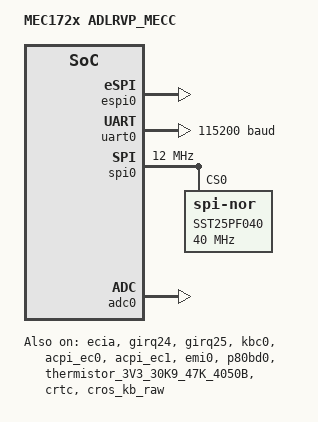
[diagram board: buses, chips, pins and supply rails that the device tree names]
/* Copyright 2021 Microchip Technology Inc. All rights reserved.
 * Use of this source code is governed by a BSD-style license that can be
 * found in the LICENSE file.
 */

/dts-v1/;

#include <cros/microchip/mec1727.dtsi>
#include <cros/thermistor/thermistor.dtsi>
#include <dt-bindings/gpio_defines.h>
#include <microchip/mec172xnsz.dtsi>
#include <microchip/mec172x/mec172xnsz-pinctrl.dtsi>

/ {
	model = "MEC172x ADLRVP_MECC";

	chosen {
		zephyr,sram = &sram0;
		zephyr,console = &uart0;
		zephyr,shell-uart = &uart0;
		zephyr,flash = &flash0;
		zephyr,flash-controller = &int_flash;
	};

	named-pwms {
		compatible = "named-pwms";
	};

	named-adc-channels {
		compatible = "named-adc-channels";

		adc_ddr_soc: ddr_soc {
			label = "TEMP_DDR_SOC";
			enum-name = "ADC_TEMP_SENSOR_1_DDR_SOC";
			io-channels = <&adc0 5>;
		};
		adc_ambient: ambient {
			label = "TEMP_AMBIENT";
			enum-name = "ADC_TEMP_SENSOR_2_AMBIENT";
			io-channels = <&adc0 3>;
		};
		adc_charger: charger {
			label = "TEMP_CHARGER";
			enum-name = "ADC_TEMP_SENSOR_3_CHARGER";
			io-channels = <&adc0 0>;
		};
		adc_wwan: wwan {
			label = "TEMP_WWAN";
			enum-name = "ADC_TEMP_SENSOR_4_WWAN";
			io-channels = <&adc0 4>;
		};
	};

	named-temp-sensors {
		ddr_soc {
			compatible = "cros-ec,temp-thermistor";
			thermistor = <&thermistor_3V3_30K9_47K_4050B>;
			label = "DDR and SOC";
			enum-name = "TEMP_SENSOR_1_DDR_SOC";
			temp_fan_off = <35>;
			temp_fan_max = <60>;
			temp_host_high = <85>;
			temp_host_halt = <90>;
			temp_host_release_high = <80>;
			adc = <&adc_ddr_soc>;
		};
		ambient {
			compatible = "cros-ec,temp-thermistor";
			thermistor = <&thermistor_3V3_30K9_47K_4050B>;
			label = "Ambient";
			enum-name = "TEMP_SENSOR_2_AMBIENT";
			temp_fan_off = <35>;
			temp_fan_max = <60>;
			temp_host_high = <85>;
			temp_host_halt = <90>;
			temp_host_release_high = <80>;
			adc = <&adc_ambient>;
		};
		charger {
			compatible = "cros-ec,temp-thermistor";
			thermistor = <&thermistor_3V3_30K9_47K_4050B>;
			label = "Charger";
			enum-name = "TEMP_SENSOR_3_CHARGER";
			temp_fan_off = <35>;
			temp_fan_max = <65>;
			temp_host_high = <105>;
			temp_host_halt = <120>;
			temp_host_release_high = <90>;
			adc = <&adc_charger>;
		};
		wwan {
			compatible = "cros-ec,temp-thermistor";
			thermistor = <&thermistor_3V3_30K9_47K_4050B>;
			label = "WWAN";
			enum-name = "TEMP_SENSOR_4_WWAN";
			temp_fan_off = <35>;
			temp_fan_max = <60>;
			temp_host_high = <130>;
			temp_host_halt = <130>;
			temp_host_release_high = <100>;
			adc = <&adc_wwan>;
		};
	};

	soc {
		/delete-node/ rtc@400f5000;
		/delete-node/ kscan@40009c00;

		crtc: cros-rtc@400f5000 {
			compatible = "microchip,xec-cros-rtc";
			reg = <0x400f5000 0x100>;
			interrupts = <119 0>, <120 0>;
			label = "CRTC";
		};

		cros_kb_raw: cros-kb-raw@40009c00 {
			compatible = "microchip,xec-cros-kb-raw";
			reg = <0x40009c00 0x18>;
			label = "CROS_KB_RAW_0";
			interrupts = <135 4>;
		};
	};
};

&cpu0 {
	status = "okay";
/* cpu-power-states = <&suspend_to_idle_instant &suspend_to_idle_normal>; */
};

&bbram {
	status = "okay";
};

&ecia {
	status = "okay";
};

/* Enable aggregated GIRQ24/25 for eSPI virtual wires */
&girq24 {
	status = "okay";
};

&girq25 {
	status = "okay";
};

&espi0 {
	status = "okay";
	pinctrl-0 = <&pinctrl_espi_reset
		     &pinctrl_espi_cs
		     &pinctrl_espi_clk
		     &pinctrl_espi_io0
		     &pinctrl_espi_io1
		     &pinctrl_espi_io2
		     &pinctrl_espi_io3>;
	pinctrl-names = "default";
};

/* Host facing devices on eSPI bus */
&kbc0 {
	status = "okay";
};

&acpi_ec0 {
	status = "okay";
};

&acpi_ec1 {
	status = "okay";
};

&emi0 {
	status = "okay";
};

&p80bd0 {
	status = "okay";
};

&crtc {
	status = "okay";
};

&uart0 {
	status = "okay";
	current-speed = <115200>;
	pinctrl-0 = <&pinctrl_uart0_tx &pinctrl_uart0_rx>;
	pinctrl-names = "default";
};

&spi0 {
	status = "okay";
	clock-frequency = <12000000>;
	lines = <2>;
	port-sel = <2>;
	chip-select = <0>;
	pinctrl-0 = < &pinctrl_qint_cs0
		      &pinctrl_qint_clk
		      &pinctrl_qint_io0
		      &pinctrl_qint_io1
		      &pinctrl_qint_wpn >;
	pinctrl-names = "default";

	int_flash: sst25pf040@0 {
		compatible ="jedec,spi-nor";
		/*  4194304 bits = 512K Bytes */
		size = <0x400000>;
		label = "SST25PF040";
		reg = <0>;
		spi-max-frequency = <40000000>;
		status = "okay";
		jedec-id = [62 06 13];
	};
};

&cros_kb_raw {
	status = "okay";
	/*
	 * No KSO2 (It's inverted and implemented by GPIO for
	 * CONFIG_KEYBOARD_COL2_INVERTED.)
	 */
	pinctrl-0 = <&pinctrl_ksi0
		     &pinctrl_ksi1
			 &pinctrl_ksi2
		     &pinctrl_ksi3
		     &pinctrl_ksi4
		     &pinctrl_ksi5
		     &pinctrl_ksi6
		     &pinctrl_ksi7
		     &pinctrl_kso0
		     &pinctrl_kso1
		     &pinctrl_kso3
		     &pinctrl_kso4
		     &pinctrl_kso5
		     &pinctrl_kso6
		     &pinctrl_kso7
		     &pinctrl_kso8
		     &pinctrl_kso9
		     &pinctrl_kso10
		     &pinctrl_kso11
		     &pinctrl_kso12>;
	pinctrl-names = "default";
};

/* Chrome design: KSI02 to H1 has not pull-up resistor */
&pinctrl_ksi2 {
	bias-pull-up;
};

&adc0 {
	status = "okay";
	pinctrl-0 = <&pinctrl_adc0_in0
		     &pinctrl_adc0_in3
		     &pinctrl_adc0_in4
		     &pinctrl_adc0_in5>;
	pinctrl-names = "default";
};

&thermistor_3V3_30K9_47K_4050B {
	status = "okay";
};
